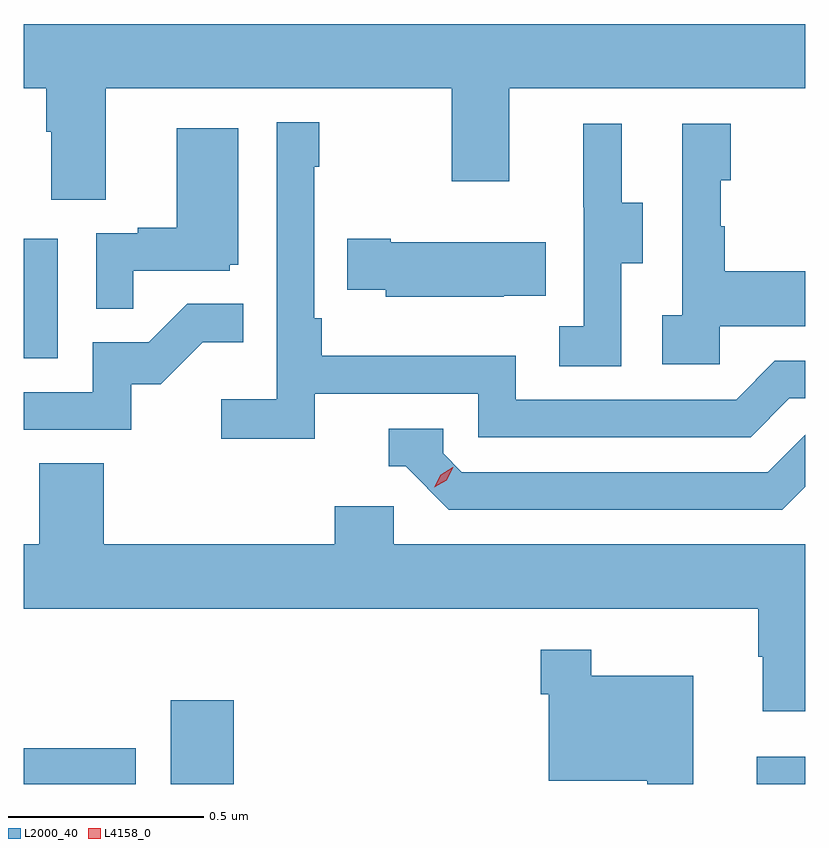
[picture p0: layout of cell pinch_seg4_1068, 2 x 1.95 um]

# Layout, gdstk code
import gdstk
lib = gdstk.Library(unit=1e-6, precision=1e-09)
def R(c, l, rs):  # rectangles x0, y0, x1, y1
    for r in rs: c.add(gdstk.rectangle(r[:2], r[2:], *l))
def P(c, l, *ps):  # polygons
    for p in ps: c.add(gdstk.Polygon(p, *l))
L2000_40 = (2000, 40)
L4158_0 = (4158, 0)

pinch_seg4_1068 = lib.new_cell('pinch_seg4_1068')
R(pinch_seg4_1068, L2000_40, [(817.633,751.083,817.92,751.174), (818.009,751.083,818.17,751.297), (819.509,751.083,819.633,751.153), (817.633,752.172,817.72,752.479)])
P(pinch_seg4_1068, L2000_40, [(817.843,752.864),(818.728,752.864),(818.728,752.625),(818.875,752.625),(818.875,752.864),(819.633,752.864),(819.633,753.028),(817.633,753.028),(817.633,752.864),(817.691,752.864),(817.691,752.752),(817.703,752.752),(817.703,752.578),(817.843,752.578)],
  [(818.378,752.082),(818.796,752.082),(818.796,751.971),(819.493,751.971),(819.592,752.07),(819.633,752.07),(819.633,752.166),(819.555,752.166),(819.456,752.067),(818.892,752.067),(818.892,752.179),(818.396,752.179),(818.396,752.275),(818.376,752.275),(818.376,752.663),(818.389,752.663),(818.389,752.776),(818.28,752.776),(818.28,752.068),(818.139,752.068),(818.139,751.966),(818.378,751.966)],
  [(819.162,752.416),(819.217,752.416),(819.217,752.571),(819.163,752.571),(819.163,752.773),(819.065,752.773),(819.065,752.559),(819.066,752.559),(819.066,752.255),(819.003,752.255),(819.003,752.152),(819.162,752.152)],
  [(819.414,752.255),(819.633,752.255),(819.633,752.395),(819.427,752.395),(819.427,752.51),(819.417,752.51),(819.417,752.628),(819.442,752.628),(819.442,752.773),(819.318,752.773),(819.318,752.282),(819.267,752.282),(819.267,752.157),(819.414,752.157)],
  [(817.913,752.397),(818.16,752.397),(818.16,752.412),(818.182,752.412),(818.182,752.761),(818.024,752.761),(818.024,752.506),(817.925,752.506),(817.925,752.493),(817.818,752.493),(817.818,752.299),(817.913,752.299)],
  [(818.861,752.333),(818.969,752.333),(818.969,752.47),(818.572,752.47),(818.572,752.478),(818.461,752.478),(818.461,752.348),(818.559,752.348),(818.559,752.33),(818.861,752.33)],
  [(817.908,752.106),(817.984,752.106),(818.091,752.213),(818.195,752.213),(818.195,752.312),(818.051,752.312),(817.953,752.214),(817.809,752.214),(817.809,752.085),(817.633,752.085),(817.633,751.989),(817.908,751.989)],
  [(819.633,751.844),(819.633,751.977),(819.537,751.881),(818.754,751.881),(818.706,751.929),(818.706,751.992),(818.567,751.992),(818.567,751.896),(818.61,751.896),(818.721,751.785),(819.574,751.785)],
  [(819.633,751.696),(818.58,751.696),(818.58,751.794),(818.429,751.794),(818.429,751.696),(817.838,751.696),(817.838,751.904),(817.673,751.904),(817.673,751.696),(817.633,751.696),(817.633,751.532),(819.513,751.532),(819.513,751.409),(819.524,751.409),(819.524,751.269),(819.633,751.269)],
  [(819.346,751.36),(819.085,751.36),(819.085,751.426),(818.956,751.426),(818.956,751.313),(818.976,751.313),(818.976,751.091),(819.229,751.091),(819.229,751.083),(819.346,751.083)])
P(pinch_seg4_1068, L4158_0, [(818.684,751.842),(818.684,751.842),(818.7,751.874),(818.731,751.894),(818.732,751.894),(818.732,751.893),(818.715,751.861),(818.684,751.842)])

lib.write_gds('pinch_seg4_1068.gds')
